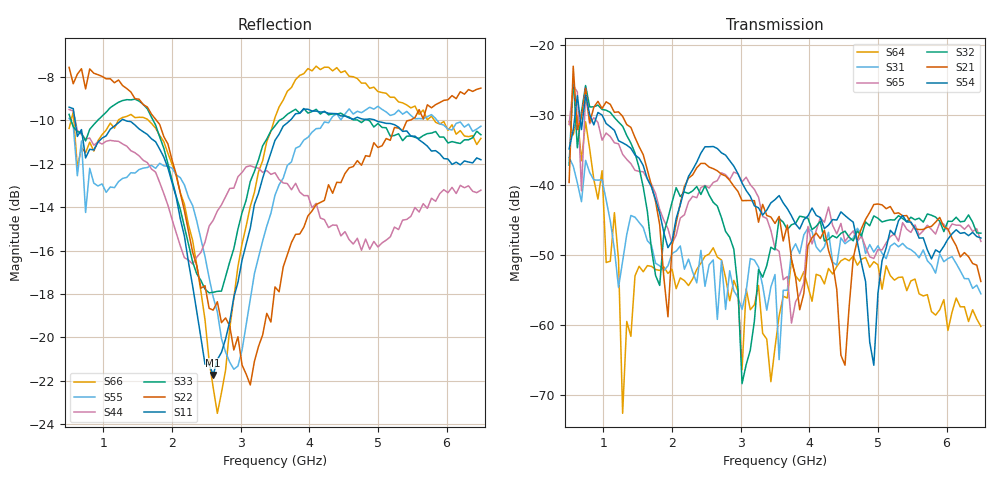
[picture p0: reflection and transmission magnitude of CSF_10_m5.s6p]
!Keysight Technologies,M9804A,MY58100912,A.14.10.03
!Date: Thursday, April 27, 2023 10:28:33
!Correction: S11(C  6-Port  )
!S12(C  6-Port  )
!S13(C  6-Port  )
!S14(C  6-Port  )
!S15(C  6-Port  )
!S16(C  6-Port  )
!S21(C  6-Port  )
!S22(C  6-Port  )
!S23(C  6-Port  )
!S24(C  6-Port  )
!S25(C  6-Port  )
!S26(C  6-Port  )
!S31(C  6-Port  )
!S32(C  6-Port  )
!S33(C  6-Port  )
!S34(C  6-Port  )
!S35(C  6-Port  )
!S36(C  6-Port  )
!S41(C  6-Port  )
!S42(C  6-Port  )
!S43(C  6-Port  )
!S44(C  6-Port  )
!S45(C  6-Port  )
!S46(C  6-Port  )
!S51(C  6-Port  )
!S52(C  6-Port  )
!S53(C  6-Port  )
!S54(C  6-Port  )
!S55(C  6-Port  )
!S56(C  6-Port  )
!S61(C  6-Port  )
!S62(C  6-Port  )
!S63(C  6-Port  )
!S64(C  6-Port  )
!S65(C  6-Port  )
!S66(C  6-Port  )
!S6P File: Measurement: :
# Hz S  RI  R 50
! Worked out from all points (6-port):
!   101 points, 500 MHz to 6.5 GHz, reference 50 ohm
!   strongest paths, dB at 500 MHz, 2 GHz, 3.5 GHz, 5 GHz, 6.5 GHz:
!     S54: -34.9, -48.1, -42.1, -55.5, -47.6
!     S21: -39.7, -48.7, -45.5, -42.8, -53.8
!     S32: -37.2, -42.5, -49.3, -44.8, -46.9
!     S65: -31.4, -48.4, -49.1, -49.3, -48.1
!     S31: -36.1, -49.8, -52.8, -48.7, -55.6
!     S64: -31.0, -52.1, -63.2, -51.4, -60.2
!   lowest |S11| = -21.7 dB at 2.6 GHz (marker M1), VSWR 1.18, Z = 42.7 + j1.98 ohm
!   |S11| at or under -10 dB: 584.9 MHz to 1.264 GHz (679 MHz wide, 73.4 % of centre); 1.31 GHz to 3.722 GHz (2.412 GHz wide, 95.9 % of centre); 4.958 GHz to end of sweep
